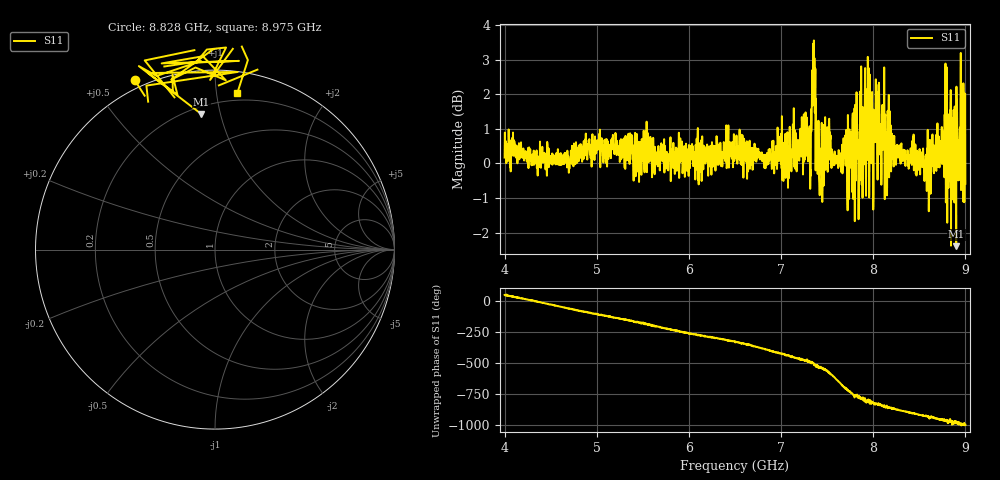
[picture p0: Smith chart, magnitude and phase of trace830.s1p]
! Created with skrf 1.8.0 (http://scikit-rf.org).
# Hz S RI R 50.0
!freq ReS11 ImS11
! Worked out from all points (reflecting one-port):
!   1601 points, 4 GHz to 9 GHz, reference 50 ohm
!   lowest |S11| = -2.4 dB at 8.9 GHz (marker M1), VSWR 7.30, Z = 12.3 + j43.7 ohm
!   phase of S11 starts at 51 deg and turns -1048 deg over the sweep
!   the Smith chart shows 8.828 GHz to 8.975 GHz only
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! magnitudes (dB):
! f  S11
! 4 GHz  0.2
! 4.625 GHz  0.0
! 5.25 GHz  0.0
! 5.875 GHz  0.0
! 6.5 GHz  0.2
! 6.838 GHz  0.1
! 6.984 GHz  0.3
! 7.038 GHz  0.1
! 7.125 GHz  0.6
! 7.297 GHz  1.0
! 7.353 GHz  2.0
! 7.412 GHz  -0.4
! 7.512 GHz  0.7
! 7.644 GHz  -0.1
! 7.75 GHz  0.4
! 7.859 GHz  2.1
! 7.928 GHz  2.1
! 7.981 GHz  0.0
! 8.041 GHz  1.4
! 8.066 GHz  1.7
! 8.375 GHz  0.3
! 8.606 GHz  -0.6
! 8.759 GHz  0.4
! 8.816 GHz  -0.7
! 8.875 GHz  1.0
! 8.9 GHz  -2.4
! 8.972 GHz  0.6
! 9 GHz  -0.6
